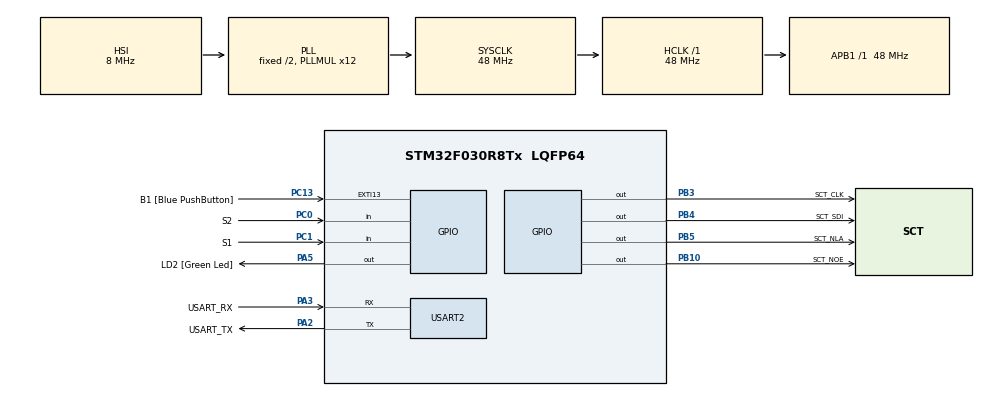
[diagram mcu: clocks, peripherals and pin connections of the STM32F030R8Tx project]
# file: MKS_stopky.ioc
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Mcu.Family=STM32F0
Mcu.Name=STM32F030R8Tx
Mcu.Package=LQFP64
PA13.GPIO_Label=TMS
PA13.Mode=Serial_Wire
PA13.Signal=SYS_SWDIO
PA14.GPIO_Label=TCK
PA14.Mode=Serial_Wire
PA14.Signal=SYS_SWCLK
PA2.GPIO_Label=USART_TX
PA2.GPIO_Mode=GPIO_MODE_AF_PP
PA2.GPIO_PuPd=GPIO_NOPULL
PA2.GPIO_Speed=GPIO_SPEED_FREQ_LOW
PA2.Mode=Asynchronous
PA2.Signal=USART2_TX
PA3.GPIO_Label=USART_RX
PA3.GPIO_Mode=GPIO_MODE_AF_PP
PA3.GPIO_PuPd=GPIO_NOPULL
PA3.GPIO_Speed=GPIO_SPEED_FREQ_LOW
PA3.Mode=Asynchronous
PA3.Signal=USART2_RX
PA5.GPIO_Label=LD2 [Green Led]
PA5.GPIO_Mode=GPIO_MODE_OUTPUT_PP
PA5.GPIO_PuPd=GPIO_NOPULL
PA5.GPIO_Speed=GPIO_SPEED_FREQ_LOW
PA5.Signal=GPIO_Output
PB10.GPIO_Label=SCT_NOE
PB10.Signal=GPIO_Output
PB3.GPIO_Label=SCT_CLK
PB3.Signal=GPIO_Output
PB4.GPIO_Label=SCT_SDI
PB4.Signal=GPIO_Output
PB5.GPIO_Label=SCT_NLA
PB5.Signal=GPIO_Output
PC0.GPIO_Label=S2
PC0.GPIO_PuPd=GPIO_PULLUP
PC0.Signal=GPIO_Input
PC1.GPIO_Label=S1
PC1.GPIO_PuPd=GPIO_PULLUP
PC1.Signal=GPIO_Input
PC13.GPIO_Label=B1 [Blue PushButton]
PC13.GPIO_ModeDefaultEXTI=GPIO_MODE_IT_FALLING
PC13.Signal=GPXTI13
PC14-OSC32_IN.Mode=LSE-External-Oscillator
PC14-OSC32_IN.Signal=RCC_OSC32_IN
PC15-OSC32_OUT.Mode=LSE-External-Oscillator
PC15-OSC32_OUT.Signal=RCC_OSC32_OUT
PF0-OSC_IN.Mode=HSE-External-Clock-Source
PF0-OSC_IN.Signal=RCC_OSC_IN
PF1-OSC_OUT.Signal=RCC_OSC_OUT
ProjectManager.HeapSize=0x200
ProjectManager.StackSize=0x400
ProjectManager.TargetToolchain=STM32CubeIDE
RCC.AHBFreq_Value=48000000
RCC.APB1Freq_Value=48000000
RCC.APB1TimFreq_Value=48000000
RCC.HCLKFreq_Value=48000000
RCC.PLLMUL=RCC_PLL_MUL12
RCC.SYSCLKFreq_VALUE=48000000
RCC.SYSCLKSource=RCC_SYSCLKSOURCE_PLLCLK
USART2.VirtualMode-Asynchronous=VM_ASYNC
board=NUCLEO-F030R8

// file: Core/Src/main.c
/* USER CODE BEGIN Header */
/**
  ******************************************************************************
  * @file           : main.c
  * @brief          : Main program body
  ******************************************************************************
  * @attention
  *
  * Copyright (c) 2022 STMicroelectronics.
  * All rights reserved.
  *
  * This software is licensed under terms that can be found in the LICENSE file
  * in the root directory of this software component.
  * If no LICENSE file comes with this software, it is provided AS-IS.
  *
  ******************************************************************************
  */
/* USER CODE END Header */
#include "main.h"

/* USER CODE BEGIN Includes */
#include <stdbool.h>
#include <stdio.h>
#include "sct.h"
/* USER CODE END Includes */

/* USER CODE BEGIN PD */
#define DEBOUNCE_CONST 5
/* USER CODE END PD */

UART_HandleTypeDef huart2;

void SystemClock_Config(void);
static void MX_GPIO_Init(void);
static void MX_USART2_UART_Init(void);

/* USER CODE BEGIN 0 */
void button(bool *p_state1, bool *p_state2){

	static uint16_t debounceS1 = 0xFFFF;
	static uint16_t debounceS2 = 0xFFFF;
	static uint32_t debounceDelay = 0;

	if(HAL_GetTick() > debounceDelay + DEBOUNCE_CONST){

		debounceS1 <<= 1;
		debounceS2 <<= 1;

		debounceDelay = HAL_GetTick();

		if(!HAL_GPIO_ReadPin(S1_GPIO_Port,S1_Pin)) debounceS1 |= 0x0001;
		if(!HAL_GPIO_ReadPin(S2_GPIO_Port,S2_Pin)) debounceS2 |= 0x0001;

		if(debounceS1 == 0x8000){
			*p_state1 =true;
		}else{
			*p_state1 = false;
		}

		if(debounceS2 == 0x8000){
			*p_state2 = true;
		}else{
			*p_state2 = false;
		}
	}

}
/* USER CODE END 0 */

int main(void)
{

  /* MCU Configuration--------------------------------------------------------*/

  /* Reset of all peripherals, Initializes the Flash interface and the Systick. */
  HAL_Init();

  /* USER CODE BEGIN Init */
sct_init();
  /* USER CODE END Init */

  /* Configure the system clock */
  SystemClock_Config();

  /* Initialize all configured peripherals */
  MX_GPIO_Init();
  MX_USART2_UART_Init();

  /* Infinite loop */
  while (1)
  {

	  /* USER CODE BEGIN 3 */
	  static bool buttState1;
	  static bool buttState2;
	  static uint32_t timeDiference = 0;
	  static uint32_t stopwatch = 0;
	  static uint8_t buttCntr = 1;

	  button(&buttState1, &buttState2);

	  if(HAL_GetTick() >= timeDiference + 100){
		  if(buttCntr == 0) stopwatch++;
		  timeDiference = HAL_GetTick();
	  }

	  if(buttState1) buttCntr++;
	  buttState1 = false;
	  if(buttCntr == 2) stopwatch = 0;
	  sct_value(stopwatch, 0);
	  if(buttCntr > 2) buttCntr = 0;
  }
  /* USER CODE END 3 */
}

void SystemClock_Config(void)
{
  RCC_OscInitTypeDef RCC_OscInitStruct = {0};
  RCC_ClkInitTypeDef RCC_ClkInitStruct = {0};

  /** Initializes the RCC Oscillators according to the specified parameters
  * in the RCC_OscInitTypeDef structure.
  */
  RCC_OscInitStruct.OscillatorType = RCC_OSCILLATORTYPE_HSI;
  RCC_OscInitStruct.HSIState = RCC_HSI_ON;
  RCC_OscInitStruct.HSICalibrationValue = RCC_HSICALIBRATION_DEFAULT;
  RCC_OscInitStruct.PLL.PLLState = RCC_PLL_ON;
  RCC_OscInitStruct.PLL.PLLSource = RCC_PLLSOURCE_HSI;
  RCC_OscInitStruct.PLL.PLLMUL = RCC_PLL_MUL12;
  RCC_OscInitStruct.PLL.PREDIV = RCC_PREDIV_DIV1;
  if (HAL_RCC_OscConfig(&RCC_OscInitStruct) != HAL_OK)
  {
    Error_Handler();
  }
  /** Initializes the CPU, AHB and APB buses clocks
  */
  RCC_ClkInitStruct.ClockType = RCC_CLOCKTYPE_HCLK|RCC_CLOCKTYPE_SYSCLK
                              |RCC_CLOCKTYPE_PCLK1;
  RCC_ClkInitStruct.SYSCLKSource = RCC_SYSCLKSOURCE_PLLCLK;
  RCC_ClkInitStruct.AHBCLKDivider = RCC_SYSCLK_DIV1;
  RCC_ClkInitStruct.APB1CLKDivider = RCC_HCLK_DIV1;

  if (HAL_RCC_ClockConfig(&RCC_ClkInitStruct, FLASH_LATENCY_1) != HAL_OK)
  {
    Error_Handler();
  }
}

static void MX_USART2_UART_Init(void)
{

  huart2.Instance = USART2;
  huart2.Init.BaudRate = 38400;
  huart2.Init.WordLength = UART_WORDLENGTH_8B;
  huart2.Init.StopBits = UART_STOPBITS_1;
  huart2.Init.Parity = UART_PARITY_NONE;
  huart2.Init.Mode = UART_MODE_TX_RX;
  huart2.Init.HwFlowCtl = UART_HWCONTROL_NONE;
  huart2.Init.OverSampling = UART_OVERSAMPLING_16;
  huart2.Init.OneBitSampling = UART_ONE_BIT_SAMPLE_DISABLE;
  huart2.AdvancedInit.AdvFeatureInit = UART_ADVFEATURE_NO_INIT;
  if (HAL_UART_Init(&huart2) != HAL_OK)
  {
    Error_Handler();
  }

}

static void MX_GPIO_Init(void)
{
  GPIO_InitTypeDef GPIO_InitStruct = {0};

  /* GPIO Ports Clock Enable */
  __HAL_RCC_GPIOC_CLK_ENABLE();
  __HAL_RCC_GPIOF_CLK_ENABLE();
  __HAL_RCC_GPIOA_CLK_ENABLE();
  __HAL_RCC_GPIOB_CLK_ENABLE();

  /*Configure GPIO pin Output Level */
  HAL_GPIO_WritePin(GPIOA, GPIO_PIN_5, GPIO_PIN_RESET);

  /*Configure GPIO pin Output Level */
  HAL_GPIO_WritePin(GPIOB, GPIO_PIN_10|GPIO_PIN_3|GPIO_PIN_4|GPIO_PIN_5, GPIO_PIN_RESET);

  /*Configure GPIO pin : PC13 */
  GPIO_InitStruct.Pin = GPIO_PIN_13;
  GPIO_InitStruct.Mode = GPIO_MODE_IT_FALLING;
  GPIO_InitStruct.Pull = GPIO_NOPULL;
  HAL_GPIO_Init(GPIOC, &GPIO_InitStruct);

  /*Configure GPIO pins : PC0 PC1 */
  GPIO_InitStruct.Pin = GPIO_PIN_0|GPIO_PIN_1;
  GPIO_InitStruct.Mode = GPIO_MODE_INPUT;
  GPIO_InitStruct.Pull = GPIO_PULLUP;
  HAL_GPIO_Init(GPIOC, &GPIO_InitStruct);

  /*Configure GPIO pin : PA5 */
  GPIO_InitStruct.Pin = GPIO_PIN_5;
  GPIO_InitStruct.Mode = GPIO_MODE_OUTPUT_PP;
  GPIO_InitStruct.Pull = GPIO_NOPULL;
  GPIO_InitStruct.Speed = GPIO_SPEED_FREQ_LOW;
  HAL_GPIO_Init(GPIOA, &GPIO_InitStruct);

  /*Configure GPIO pins : PB10 PB3 PB4 PB5 */
  GPIO_InitStruct.Pin = GPIO_PIN_10|GPIO_PIN_3|GPIO_PIN_4|GPIO_PIN_5;
  GPIO_InitStruct.Mode = GPIO_MODE_OUTPUT_PP;
  GPIO_InitStruct.Pull = GPIO_NOPULL;
  GPIO_InitStruct.Speed = GPIO_SPEED_FREQ_LOW;
  HAL_GPIO_Init(GPIOB, &GPIO_InitStruct);

}

void Error_Handler(void)
{
  __disable_irq();
  while (1)
  {
  }
}
